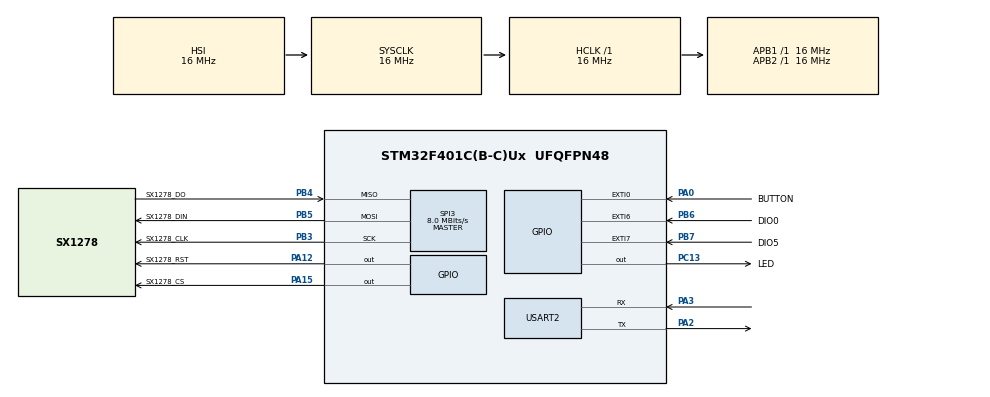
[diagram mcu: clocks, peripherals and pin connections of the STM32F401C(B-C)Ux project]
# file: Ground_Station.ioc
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Dma.Request0=USART2_RX
Dma.USART2_RX.0.Direction=DMA_PERIPH_TO_MEMORY
Dma.USART2_RX.0.FIFOMode=DMA_FIFOMODE_DISABLE
Dma.USART2_RX.0.Instance=DMA1_Stream5
Dma.USART2_RX.0.MemDataAlignment=DMA_MDATAALIGN_BYTE
Dma.USART2_RX.0.MemInc=DMA_MINC_ENABLE
Dma.USART2_RX.0.Mode=DMA_NORMAL
Dma.USART2_RX.0.PeriphDataAlignment=DMA_PDATAALIGN_BYTE
Dma.USART2_RX.0.PeriphInc=DMA_PINC_DISABLE
Dma.USART2_RX.0.Priority=DMA_PRIORITY_VERY_HIGH
Mcu.Family=STM32F4
Mcu.Name=STM32F401C(B-C)Ux
Mcu.Package=UFQFPN48
NVIC.DMA1_Stream5_IRQn=true\:0\:0\:false\:false\:true\:false\:true\:true
NVIC.EXTI0_IRQn=true\:0\:0\:false\:false\:true\:true\:true\:true
NVIC.EXTI9_5_IRQn=true\:0\:0\:false\:false\:true\:true\:true\:true
NVIC.PriorityGroup=NVIC_PRIORITYGROUP_4
NVIC.USART2_IRQn=true\:0\:0\:false\:false\:true\:true\:true\:true
PA0-WKUP.GPIO_Label=BUTTON
PA0-WKUP.GPIO_PuPd=GPIO_PULLUP
PA0-WKUP.Signal=GPXTI0
PA12.GPIO_Label=SX1278_RST
PA12.Signal=GPIO_Output
PA13.Mode=Serial_Wire
PA13.Signal=SYS_JTMS-SWDIO
PA14.Mode=Serial_Wire
PA14.Signal=SYS_JTCK-SWCLK
PA15.GPIO_Label=SX1278_CS
PA15.Signal=GPIO_Output
PA2.Mode=Asynchronous
PA2.Signal=USART2_TX
PA3.Mode=Asynchronous
PA3.Signal=USART2_RX
PB3.GPIO_Label=SX1278_CLK
PB3.Mode=Full_Duplex_Master
PB3.Signal=SPI3_SCK
PB4.GPIO_Label=SX1278_DO
PB4.Mode=Full_Duplex_Master
PB4.Signal=SPI3_MISO
PB5.GPIO_Label=SX1278_DIN
PB5.Mode=Full_Duplex_Master
PB5.Signal=SPI3_MOSI
PB6.GPIO_Label=DIO0
PB6.Signal=GPXTI6
PB7.GPIO_Label=DIO5
PB7.Signal=GPXTI7
PC13-ANTI_TAMP.GPIO_Label=LED
PC13-ANTI_TAMP.Signal=GPIO_Output
PH0\ -\ OSC_IN.Mode=HSE-External-Oscillator
PH0\ -\ OSC_IN.Signal=RCC_OSC_IN
PH1\ -\ OSC_OUT.Mode=HSE-External-Oscillator
PH1\ -\ OSC_OUT.Signal=RCC_OSC_OUT
ProjectManager.HeapSize=0x200
ProjectManager.StackSize=0x400
ProjectManager.TargetToolchain=STM32CubeIDE
RCC.AHBFreq_Value=16000000
RCC.APB1Freq_Value=16000000
RCC.APB2Freq_Value=16000000
RCC.CortexFreq_Value=16000000
RCC.HSE_VALUE=25000000
RCC.HSI_VALUE=16000000
RCC.LSE_VALUE=32768
RCC.SYSCLKFreq_VALUE=16000000
RCC.VCOOutputFreq_Value=192000000
SPI3.CalculateBaudRate=8.0 MBits/s
SPI3.Direction=SPI_DIRECTION_2LINES
SPI3.Mode=SPI_MODE_MASTER
SPI3.VirtualType=VM_MASTER
USART2.VirtualMode=VM_ASYNC
board=custom

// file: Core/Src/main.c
/* USER CODE BEGIN Header */
/**
  ******************************************************************************
  * @file           : main.c
  * @brief          : Main program body
  ******************************************************************************
  * @attention
  *
  * Copyright (c) 2026 STMicroelectronics.
  * All rights reserved.
  *
  * This software is licensed under terms that can be found in the LICENSE file
  * in the root directory of this software component.
  * If no LICENSE file comes with this software, it is provided AS-IS.
  *
  ******************************************************************************
  */
/* USER CODE END Header */
#include "main.h"

/* USER CODE BEGIN Includes */
#include "sx1278.h"
#include <string.h>
/* USER CODE END Includes */

/* USER CODE BEGIN PD */
	extern volatile uint8_t RX_DONE;
	volatile uint8_t BUTTON_PRESSED_FLAG = 0;
	extern volatile uint8_t TX_DONE;
	extern volatile uint8_t DIO0_INTR_FLAG;
	uint8_t uartRxBuf[256];
	volatile uint8_t uartFrameReady = 0;
	volatile uint16_t uartRxSize = 0;
/* USER CODE END PD */

SPI_HandleTypeDef hspi3;

UART_HandleTypeDef huart2;
DMA_HandleTypeDef hdma_usart2_rx;

void SystemClock_Config(void);
static void MX_GPIO_Init(void);
static void MX_DMA_Init(void);
static void MX_SPI3_Init(void);
static void MX_USART2_UART_Init(void);

int main(void)
{

  /* MCU Configuration--------------------------------------------------------*/

  /* Reset of all peripherals, Initializes the Flash interface and the Systick. */
  HAL_Init();

  /* Configure the system clock */
  SystemClock_Config();

  /* Initialize all configured peripherals */
  MX_GPIO_Init();
  MX_DMA_Init();
  MX_SPI3_Init();
  MX_USART2_UART_Init();
  /* USER CODE BEGIN 2 */
  uint8_t opp;
  SX1278_ReadReg(RegOpMode, &opp);

  sx1278_Config();

  /* Clear pending EXTI interrupt flags */
  __HAL_GPIO_EXTI_CLEAR_IT(BUTTON_Pin);
  __HAL_GPIO_EXTI_CLEAR_IT(DIO5_Pin);
  __HAL_GPIO_EXTI_CLEAR_IT(DIO0_Pin);   // Replace with your actual EXTI15_10 pin if different

  /* Clear pending NVIC interrupts */
  //NVIC_ClearPendingIRQ(EXTI3_IRQn);
  NVIC_ClearPendingIRQ(EXTI9_5_IRQn);
  //NVIC_ClearPendingIRQ(EXTI15_10_IRQn);

  /* Now enable the NVIC interrupts */
  //HAL_NVIC_EnableIRQ(EXTI3_IRQn);
  HAL_NVIC_EnableIRQ(EXTI9_5_IRQn);
  //HAL_NVIC_EnableIRQ(EXTI15_10_IRQn);

  HAL_UARTEx_ReceiveToIdle_DMA(&huart2,
                               uartRxBuf,
                               sizeof(uartRxBuf));

  __HAL_DMA_DISABLE_IT(huart2.hdmarx, DMA_IT_HT);

  sx1278_OpMode(RX);

  sx1278_WaitForModeReady(RX);

//  uint8_t op;
//  uint8_t irq1;
//
//  SX1278_ReadReg(RegOpMode, &op);
//  SX1278_ReadReg(RegIrqFlags1, &irq1);
//
//  uint8_t rxcfg;
//  SX1278_ReadReg(RegRxConfig, &rxcfg);
//
//  HAL_Delay(100); // Give the module plenty of time to stabilize on the bus

//  uint8_t ver = 0;
//  uint8_t data[2] = {0};
//  uint8_t modes = 0;
//  uint8_t sync_conf = 0;
//  uint8_t values[2] = {0};
//  uint8_t afc_msb = 0;
//  uint8_t afc_lsb = 0;
//  uint8_t fei_msb = 0;
//  uint8_t fei_lsb = 0;
//  uint8_t rx_configs[5] = {0};
//  uint8_t rssi = 0;
//
//  uint8_t fifo = 0;
//  uint8_t node = 0;
//  uint8_t bc = 0;
//  uint8_t pre_msb = 0;
//  uint8_t pre_lsb = 0;

  uint8_t len = 0;
  uint8_t rxbuf[256];
  uint8_t cmd[5] = {0};
  uint8_t current_mode = 0;

  cmd[0] = 4;
  cmd[1] = 0x55;
  cmd[2] = 0x00; //0x49 to tx img, 0x37 to ping, 0x27 to reset.
  /* USER CODE END 2 */

  /* Infinite loop */
  /* USER CODE BEGIN WHILE */
  while (1)
  {
	  if ((TX_DONE == 1) && (BUTTON_PRESSED_FLAG == 0) && (current_mode != RX))
	  {
		  sx1278_OpMode(RX);
		  sx1278_WaitForModeReady(RX);
		  current_mode = RX;
	  }

	  uint8_t rssi;
	  SX1278_ReadReg(RegRssiValue, &rssi);

	  float rssi_dbm = -(float)rssi / 2.0f;

	  sx1278_DI00IntrHandler();

	  if(uartFrameReady == 1)
	  {
		  uartFrameReady = 0;

//		  HAL_UART_Transmit(&huart2, uartRxBuf, uartRxSize, HAL_MAX_DELAY);
//		  uartRxSize = 0;

		  if((uartRxBuf[0] == 0x55))//received header byte from pc
		  {
			 if(uartRxBuf[1] == 0x45) //retransmit jpeg command
			 {
				 uint8_t count = uartRxBuf[2];

				 if ((count <= 30) &&
				     (uartRxSize == (3 + count * 2)))
				 {
					 uint8_t tx_buff[64] = {0};

					 tx_buff[0] = uartRxSize;
					 memcpy(&tx_buff[1],uartRxBuf,uartRxSize);

					 if(TX_DONE == 1)
					 {
						 TX_DONE = 0;

						 sx1278_OpMode(STANDBY_MODE);
						 sx1278_WaitForModeReady(STANDBY_MODE);

						 sx1278_WriteFIFO(tx_buff, uartRxSize+1);

						 sx1278_OpMode(TX);
						 sx1278_WaitForModeReady(TX);

						 current_mode = TX;
						 uartRxSize = 0;
					 }
				 }
			 }

			 if((uartRxBuf[1] == 0x49) || (uartRxBuf[1] == 0x37) || (uartRxBuf[1] == 0x27))
			 {
				 cmd[2] = uartRxBuf[1];

				 if(TX_DONE == 1)
				 {
				    	TX_DONE = 0;

				    	BUTTON_PRESSED_FLAG = 0;

				    	sx1278_OpMode(STANDBY_MODE);
				    	sx1278_WaitForModeReady(STANDBY_MODE);

				    	sx1278_WriteFIFO(cmd, 5);

				    	sx1278_OpMode(TX);
						sx1278_WaitForModeReady(TX);

						current_mode = TX;
						uartRxSize = 0;
				 }
			 }

		  }
	  }

	  if ((RX_DONE == 1) && (BUTTON_PRESSED_FLAG == 0) && (TX_DONE == 1))
	  {
	      RX_DONE = 0;

	      // Read first byte (payload length)
	      sx1278_ReadFIFO(&len, 1);

	      // Read payload
	      if (len > 0 && len <= 255)
	      {
	    	  rxbuf[0] = 0x55;
	          rxbuf[1] = 0xAA;
	          rxbuf[2] = len;
	          sx1278_ReadFIFO(&rxbuf[3], len);

	  		  sx1278_OpMode(RX);
	  		  sx1278_WaitForModeReady(RX);

	          HAL_UART_Transmit(&huart2, rxbuf, len + 3, HAL_MAX_DELAY);
	        }

	        // Re-enter RX
	        //sx1278_OpMode(RX);
	    }

	    if((BUTTON_PRESSED_FLAG == 1) && (TX_DONE == 1))
	    {
	    	TX_DONE = 0;

	    	BUTTON_PRESSED_FLAG = 0;

	    	sx1278_OpMode(STANDBY_MODE);
	    	sx1278_WaitForModeReady(STANDBY_MODE);

	    	sx1278_WriteFIFO(cmd, 5);

	    	sx1278_OpMode(TX);
			sx1278_WaitForModeReady(TX);
			current_mode = TX;
	    }
    /* USER CODE END WHILE */

  }
}

void SystemClock_Config(void)
{
  RCC_OscInitTypeDef RCC_OscInitStruct = {0};
  RCC_ClkInitTypeDef RCC_ClkInitStruct = {0};

  /** Configure the main internal regulator output voltage
  */
  __HAL_RCC_PWR_CLK_ENABLE();
  __HAL_PWR_VOLTAGESCALING_CONFIG(PWR_REGULATOR_VOLTAGE_SCALE2);

  /** Initializes the RCC Oscillators according to the specified parameters
  * in the RCC_OscInitTypeDef structure.
  */
  RCC_OscInitStruct.OscillatorType = RCC_OSCILLATORTYPE_HSI;
  RCC_OscInitStruct.HSIState = RCC_HSI_ON;
  RCC_OscInitStruct.HSICalibrationValue = RCC_HSICALIBRATION_DEFAULT;
  RCC_OscInitStruct.PLL.PLLState = RCC_PLL_NONE;
  if (HAL_RCC_OscConfig(&RCC_OscInitStruct) != HAL_OK)
  {
    Error_Handler();
  }

  /** Initializes the CPU, AHB and APB buses clocks
  */
  RCC_ClkInitStruct.ClockType = RCC_CLOCKTYPE_HCLK|RCC_CLOCKTYPE_SYSCLK
                              |RCC_CLOCKTYPE_PCLK1|RCC_CLOCKTYPE_PCLK2;
  RCC_ClkInitStruct.SYSCLKSource = RCC_SYSCLKSOURCE_HSI;
  RCC_ClkInitStruct.AHBCLKDivider = RCC_SYSCLK_DIV1;
  RCC_ClkInitStruct.APB1CLKDivider = RCC_HCLK_DIV1;
  RCC_ClkInitStruct.APB2CLKDivider = RCC_HCLK_DIV1;

  if (HAL_RCC_ClockConfig(&RCC_ClkInitStruct, FLASH_LATENCY_0) != HAL_OK)
  {
    Error_Handler();
  }
}

static void MX_SPI3_Init(void)
{

  /* SPI3 parameter configuration*/
  hspi3.Instance = SPI3;
  hspi3.Init.Mode = SPI_MODE_MASTER;
  hspi3.Init.Direction = SPI_DIRECTION_2LINES;
  hspi3.Init.DataSize = SPI_DATASIZE_8BIT;
  hspi3.Init.CLKPolarity = SPI_POLARITY_LOW;
  hspi3.Init.CLKPhase = SPI_PHASE_1EDGE;
  hspi3.Init.NSS = SPI_NSS_SOFT;
  hspi3.Init.BaudRatePrescaler = SPI_BAUDRATEPRESCALER_2;
  hspi3.Init.FirstBit = SPI_FIRSTBIT_MSB;
  hspi3.Init.TIMode = SPI_TIMODE_DISABLE;
  hspi3.Init.CRCCalculation = SPI_CRCCALCULATION_DISABLE;
  hspi3.Init.CRCPolynomial = 10;
  if (HAL_SPI_Init(&hspi3) != HAL_OK)
  {
    Error_Handler();
  }

}

static void MX_USART2_UART_Init(void)
{

  huart2.Instance = USART2;
  huart2.Init.BaudRate = 115200;
  huart2.Init.WordLength = UART_WORDLENGTH_8B;
  huart2.Init.StopBits = UART_STOPBITS_1;
  huart2.Init.Parity = UART_PARITY_NONE;
  huart2.Init.Mode = UART_MODE_TX_RX;
  huart2.Init.HwFlowCtl = UART_HWCONTROL_NONE;
  huart2.Init.OverSampling = UART_OVERSAMPLING_16;
  if (HAL_UART_Init(&huart2) != HAL_OK)
  {
    Error_Handler();
  }

}

static void MX_DMA_Init(void)
{

  /* DMA controller clock enable */
  __HAL_RCC_DMA1_CLK_ENABLE();

  /* DMA interrupt init */
  /* DMA1_Stream5_IRQn interrupt configuration */
  HAL_NVIC_SetPriority(DMA1_Stream5_IRQn, 0, 0);
  HAL_NVIC_EnableIRQ(DMA1_Stream5_IRQn);

}

static void MX_GPIO_Init(void)
{
  GPIO_InitTypeDef GPIO_InitStruct = {0};

  /* GPIO Ports Clock Enable */
  __HAL_RCC_GPIOC_CLK_ENABLE();
  __HAL_RCC_GPIOH_CLK_ENABLE();
  __HAL_RCC_GPIOA_CLK_ENABLE();
  __HAL_RCC_GPIOB_CLK_ENABLE();

  /*Configure GPIO pin Output Level */
  HAL_GPIO_WritePin(LED_GPIO_Port, LED_Pin, GPIO_PIN_RESET);

  /*Configure GPIO pin Output Level */
  HAL_GPIO_WritePin(GPIOA, SX1278_RST_Pin|SX1278_CS_Pin, GPIO_PIN_RESET);

  /*Configure GPIO pin : LED_Pin */
  GPIO_InitStruct.Pin = LED_Pin;
  GPIO_InitStruct.Mode = GPIO_MODE_OUTPUT_PP;
  GPIO_InitStruct.Pull = GPIO_NOPULL;
  GPIO_InitStruct.Speed = GPIO_SPEED_FREQ_LOW;
  HAL_GPIO_Init(LED_GPIO_Port, &GPIO_InitStruct);

  /*Configure GPIO pin : BUTTON_Pin */
  GPIO_InitStruct.Pin = BUTTON_Pin;
  GPIO_InitStruct.Mode = GPIO_MODE_IT_RISING;
  GPIO_InitStruct.Pull = GPIO_PULLUP;
  HAL_GPIO_Init(BUTTON_GPIO_Port, &GPIO_InitStruct);

  /*Configure GPIO pins : SX1278_RST_Pin SX1278_CS_Pin */
  GPIO_InitStruct.Pin = SX1278_RST_Pin|SX1278_CS_Pin;
  GPIO_InitStruct.Mode = GPIO_MODE_OUTPUT_PP;
  GPIO_InitStruct.Pull = GPIO_NOPULL;
  GPIO_InitStruct.Speed = GPIO_SPEED_FREQ_LOW;
  HAL_GPIO_Init(GPIOA, &GPIO_InitStruct);

  /*Configure GPIO pins : DIO0_Pin DIO5_Pin */
  GPIO_InitStruct.Pin = DIO0_Pin|DIO5_Pin;
  GPIO_InitStruct.Mode = GPIO_MODE_IT_RISING;
  GPIO_InitStruct.Pull = GPIO_NOPULL;
  HAL_GPIO_Init(GPIOB, &GPIO_InitStruct);

  /* EXTI interrupt init*/
  HAL_NVIC_SetPriority(EXTI0_IRQn, 0, 0);
  HAL_NVIC_EnableIRQ(EXTI0_IRQn);

  HAL_NVIC_SetPriority(EXTI9_5_IRQn, 0, 0);
  //HAL_NVIC_EnableIRQ(EXTI9_5_IRQn);

}

/* USER CODE BEGIN 4 */
void HAL_UARTEx_RxEventCallback(UART_HandleTypeDef *huart,
                                uint16_t Size)
{
    if (huart->Instance != USART2)
        return;

    uartRxSize = Size;
    uartFrameReady = 1;

    HAL_GPIO_TogglePin(LED_GPIO_Port, LED_Pin);

    HAL_UARTEx_ReceiveToIdle_DMA(&huart2,
                                 uartRxBuf,
                                 sizeof(uartRxBuf));

    __HAL_DMA_DISABLE_IT(huart2.hdmarx, DMA_IT_HT);
}
/* USER CODE END 4 */

void Error_Handler(void)
{
  __disable_irq();
  while (1)
  {
  }
}
